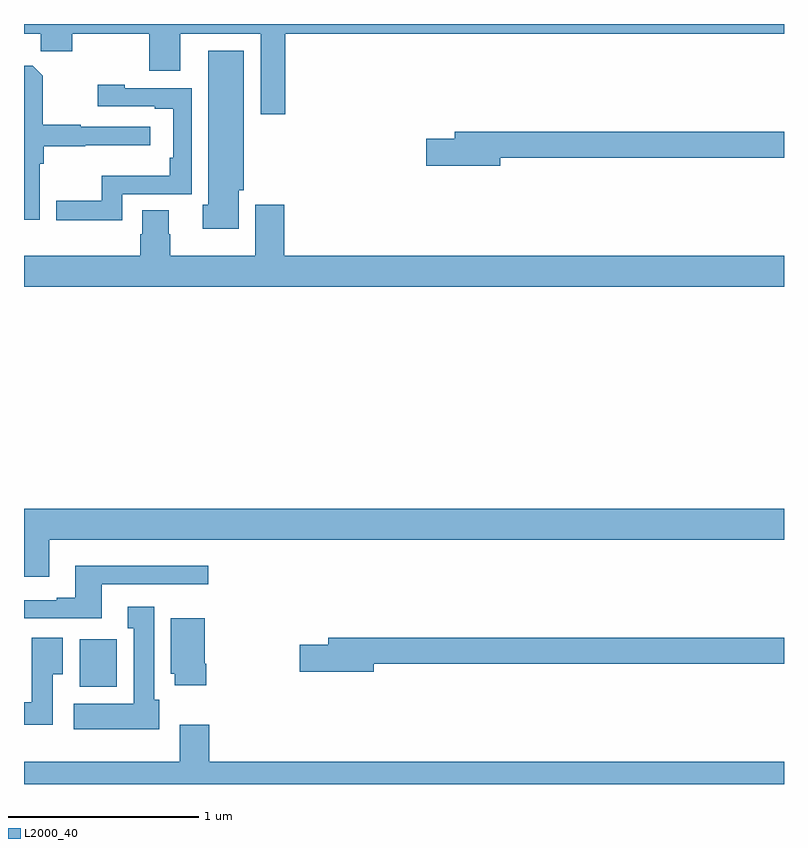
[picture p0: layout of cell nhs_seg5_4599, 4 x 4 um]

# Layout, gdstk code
import gdstk
lib = gdstk.Library(unit=1e-6, precision=1e-09)
def R(c, l, rs):  # rectangles x0, y0, x1, y1
    for r in rs: c.add(gdstk.rectangle(r[:2], r[2:], *l))
def P(c, l, *ps):  # polygons
    for p in ps: c.add(gdstk.Polygon(p, *l))
L2000_40 = (2000, 40)

nhs_seg5_4599 = lib.new_cell('nhs_seg5_4599')
R(nhs_seg5_4599, L2000_40, [(381.293,865.31,381.489,865.561)])
P(nhs_seg5_4599, L2000_40, [(382.376,868.748),(385,868.748),(385,868.799),(381,868.799),(381,868.748),(381.089,868.748),(381.089,868.655),(381.253,868.655),(381.253,868.748),(381.659,868.748),(381.659,868.554),(381.823,868.554),(381.823,868.748),(382.247,868.748),(382.247,868.323),(382.376,868.323)],
  [(382.129,867.924),(382.156,867.924),(382.156,868.657),(381.971,868.657),(381.971,867.848),(381.941,867.848),(381.941,867.722),(382.129,867.722)],
  [(381.084,868.064),(381.104,868.064),(381.104,868.156),(381.323,868.156),(381.323,868.16),(381.664,868.16),(381.664,868.257),(381.299,868.257),(381.299,868.27),(381.099,868.27),(381.099,868.527),(381.047,868.579),(381,868.579),(381,867.768),(381.084,867.768)],
  [(381.516,867.903),(381.882,867.903),(381.882,868.461),(381.531,868.461),(381.531,868.48),(381.387,868.48),(381.387,868.365),(381.689,868.365),(381.689,868.353),(381.786,868.353),(381.786,868.096),(381.766,868.096),(381.766,868),(381.408,868),(381.408,867.869),(381.171,867.869),(381.171,867.767),(381.516,867.767)],
  [(383.506,868.096),(385,868.096),(385,868.232),(383.267,868.232),(383.267,868.196),(383.118,868.196),(383.118,868.054),(383.506,868.054)],
  [(385,867.58),(382.37,867.58),(382.37,867.847),(382.217,867.847),(382.217,867.58),(381.771,867.58),(381.771,867.693),(381.763,867.693),(381.763,867.818),(381.623,867.818),(381.623,867.693),(381.611,867.693),(381.611,867.58),(381,867.58),(381,867.416),(385,867.416)],
  [(381.133,866.084),(385,866.084),(385,866.248),(381,866.248),(381,865.89),(381.133,865.89)],
  [(381.409,865.851),(381.97,865.851),(381.97,865.948),(381.269,865.948),(381.269,865.78),(381.173,865.78),(381.173,865.767),(381,865.767),(381,865.671),(381.409,865.671)],
  [(381.712,865.242),(381.685,865.242),(381.685,865.732),(381.545,865.732),(381.545,865.619),(381.578,865.619),(381.578,865.222),(381.261,865.222),(381.261,865.088),(381.712,865.088)],
  [(381.96,865.432),(381.952,865.432),(381.952,865.672),(381.773,865.672),(381.773,865.38),(381.794,865.38),(381.794,865.32),(381.96,865.32)],
  [(381.151,865.376),(381.205,865.376),(381.205,865.57),(381.041,865.57),(381.041,865.228),(381,865.228),(381,865.11),(381.151,865.11)],
  [(382.84,865.432),(385,865.432),(385,865.568),(382.601,865.568),(382.601,865.532),(382.452,865.532),(382.452,865.39),(382.84,865.39)],
  [(385,864.916),(381.974,864.916),(381.974,865.111),(381.821,865.111),(381.821,864.916),(381,864.916),(381,864.799),(385,864.799)])

lib.write_gds('nhs_seg5_4599.gds')
